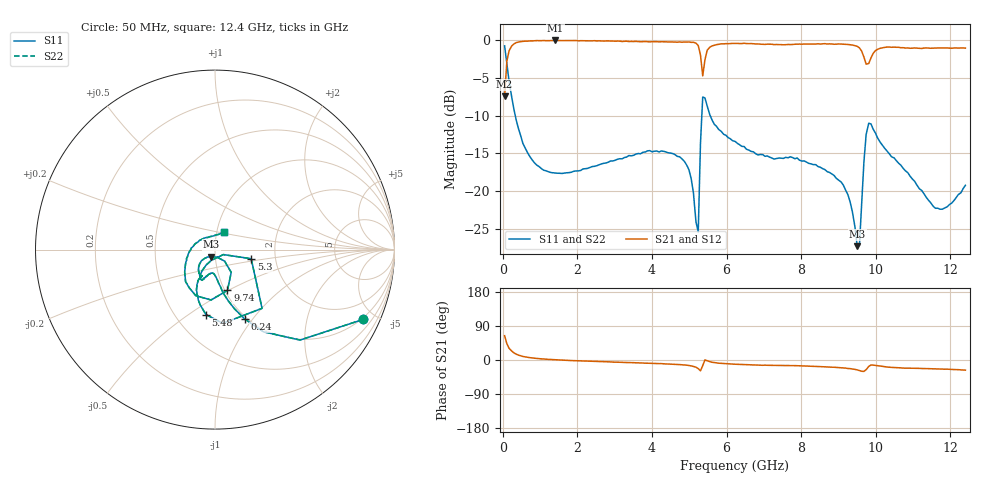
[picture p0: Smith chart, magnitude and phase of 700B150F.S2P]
!  American Technical Ceramics  Date:  3/13/98
!  One Norden Lane
!  Huntington Station,  NY.  11746-2102
!  Tel:  (516) 547-5700  Fax:  (516) 547-5748
!  Part Number  700B150F
!  Description: Porcelain, High Q, Low ESR
!  Application: Bypass, Coupling, Timing, Feedback
!  Tuning, Impedance Match, Blocking
# GHZ S DB R 50
! Freq  |S11|  S11 Ph  |S21|  S21 Ph  |S12|  S12 Ph  |S22|  S22 Ph
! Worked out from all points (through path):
!   201 points, 50 MHz to 12.4 GHz, reference 50 ohm
!   highest |S21| = -0.09 dB at 1.41 GHz (marker M1); lowest = -7.4 dB at 50 MHz (marker M2)
!   group delay of S21, straight-line fit = 7.77 ps
!   lowest |S11| = -27.2 dB at 9.5 GHz (marker M3), VSWR 1.09, Z = 47.9 - j3.7 ohm
!   |S11| at or under -10 dB: 335.2 MHz to 5.336 GHz (5.001 GHz wide, 176 % of centre); 5.559 GHz to end of sweep
!   |S22| runs from -27.2 to -0.8 dB; largest |S21 - S12| = 0
!   S11 on the Smith chart (normalised r, x): 50 MHz: 0.92, -4.27; 240 MHz: 0.97, -0.91; 5.3 GHz: 1.49, -0.16; 5.48 GHz: 0.70, -0.59; 9.74 GHz: 1.03, -0.49; 12.4 GHz: 1.09, +0.21
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0.05  -0.80 -25.3  -7.44 64.1  -7.44 64.1  -0.80 -25.3
0.11  -3.20 -46.8  -2.83 43.1  -2.83 43.1  -3.20 -46.8
0.24  -7.54 -66.9  -0.82 23.7  -0.82 23.7  -7.54 -66.9
0.67  -14.95 -84.7  -0.18 7.0  -0.18 7.0  -14.95 -84.7
1.41  -17.59 -95.2  -0.09 0.7  -0.09 0.7  -17.59 -95.2
2.15  -17.05 -102.5  -0.12 -2.6  -0.12 -2.6  -17.05 -102.5
4.19  -14.81 -116.4  -0.28 -9.5  -0.28 -9.5  -14.81 -116.4
4.99  -17.14 -121.4  -0.29 -14.5  -0.29 -14.5  -17.14 -121.4
5.24  -25.35 -30.9  -0.76 -22.9  -0.76 -22.9  -25.35 -30.9
5.3  -13.64 -14.2  -2.02 -28.5  -2.02 -28.5  -13.64 -14.2
5.36  -7.55 -51.3  -4.76 -14.9  -4.76 -14.9  -7.55 -51.3
5.48  -8.75 -98.0  -1.38 -1.9  -1.38 -1.9  -8.75 -98.0
6.23  -13.42 -117.3  -0.48 -11.2  -0.48 -11.2  -13.42 -117.3
8.32  -16.47 -126.8  -0.56 -16.6  -0.56 -16.6  -16.47 -126.8
9.13  -19.20 -138.1  -0.59 -20.9  -0.59 -20.9  -19.20 -138.1
9.5  -27.24 -117.6  -0.86 -26.1  -0.86 -26.1  -27.24 -117.6
9.56  -27.16 -74.3  -1.07 -27.8  -1.07 -27.8  -27.16 -74.3
9.74  -12.49 -73.0  -3.22 -25.5  -3.22 -25.5  -12.49 -73.0
9.93  -11.82 -124.1  -1.79 -13.4  -1.79 -13.4  -11.82 -124.1
10.36  -15.04 -156.6  -0.96 -19.0  -0.96 -19.0  -15.04 -156.6
11.6  -22.24 116.3  -1.09 -23.1  -1.09 -23.1  -22.24 116.3
12.4  -19.21 62.2  -1.10 -26.7  -1.10 -26.7  -19.21 62.2
